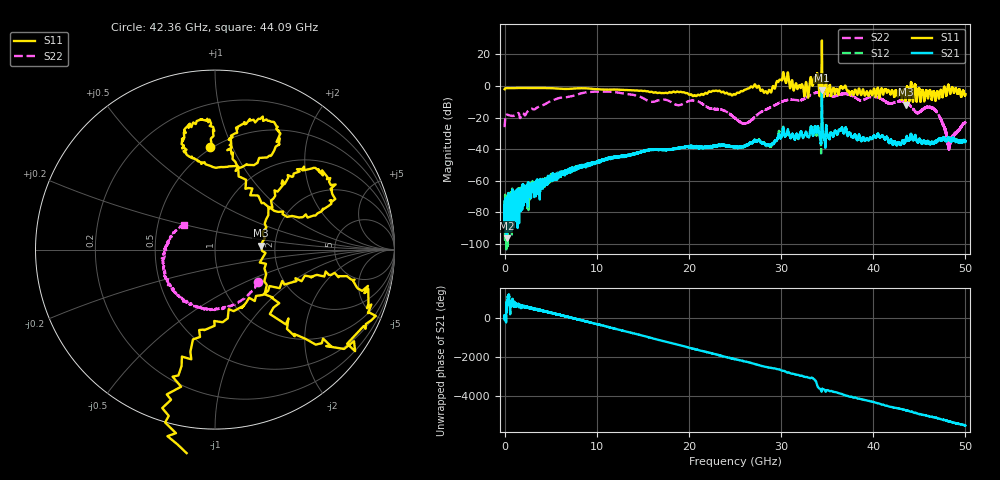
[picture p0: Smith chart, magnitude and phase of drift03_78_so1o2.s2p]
!Created with skrf (http://scikit-rf.org).
# Hz S RI R 50.0
!freq ReS11 ImS11 ReS21 ImS21 ReS12 ImS12 ReS22 ImS22
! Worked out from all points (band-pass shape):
!   10000 points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, 5.3 MHz to 50 GHz, reference 50 ohm
!   highest |S21| = -2.63 dB at 34.43 GHz (marker M1); lowest = -96.2 dB at 245.3 MHz (marker M2)
!   |S21| within 3 dB of the highest: 34.42747 GHz to 34.43428 GHz (6.807 MHz wide, 0.0198 % of centre)
!   lowest |S11| = -11.8 dB at 43.52 GHz (marker M3), VSWR 1.69, Z = 84.3 + j3.94 ohm
!   |S11| at or under -10 dB: 43.484 GHz to 43.54506 GHz (61.06 MHz wide, 0.14 % of centre); 44.3084 GHz to 44.31207 GHz (3.668 MHz wide, 0.00828 % of centre); 44.70651 GHz to 44.71044 GHz (3.931 MHz wide, 0.00879 % of centre) (the widest 3 of 4)
!   |S22| runs from -40.3 to -3.6 dB; largest |S21 - S12| = 0.23
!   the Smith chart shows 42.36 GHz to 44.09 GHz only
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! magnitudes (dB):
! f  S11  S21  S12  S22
! 5.3 MHz  -2.1  -73.2  -76.1  -26.1
! 245.3 MHz  -1.4  -96.2  -90.6  -18.2
! 3.085 GHz  -1.4  -66.2  -62.5  -14.7
! 8.34 GHz  -1.5  -50.6  -51.6  -4.7
! 16.67 GHz  -4.4  -40.2  -40.4  -9.2
! 20.75 GHz  -6.3  -38.4  -38.3  -9.4
! 25.01 GHz  -5.5  -38.7  -39.2  -20.4
! 26.23 GHz  -2.2  -37.2  -37.5  -23.6
! 27.38 GHz  -1.2  -34.9  -34.9  -18.4
! 28.72 GHz  -2.5  -37.5  -37.5  -14.1
! 30.14 GHz  4.4  -29.5  -29.7  -9.9
! 32.74 GHz  2.0  -29.4  -29.2  -7.3
! 33.34 GHz  2.6  -27.5  -27.8  -5.2
! 33.82 GHz  4.0  -29.0  -29.5  -4.2
! 34.43 GHz  28.7  -2.6  -4.8  -4.0
! 36.49 GHz  -0.3  -27.8  -28.0  -5.3
! 41.67 GHz  -2.8  -35.5  -35.5  -11.0
! 43.52 GHz  -11.8  -34.6  -34.6  -10.4
! 44.77 GHz  -7.5  -35.2  -35.2  -17.0
! 46.68 GHz  -6.0  -35.5  -35.5  -15.3
! 48.22 GHz  -0.4  -33.1  -32.9  -35.4
! 50 GHz  -5.2  -35.0  -35.5  -23.3
